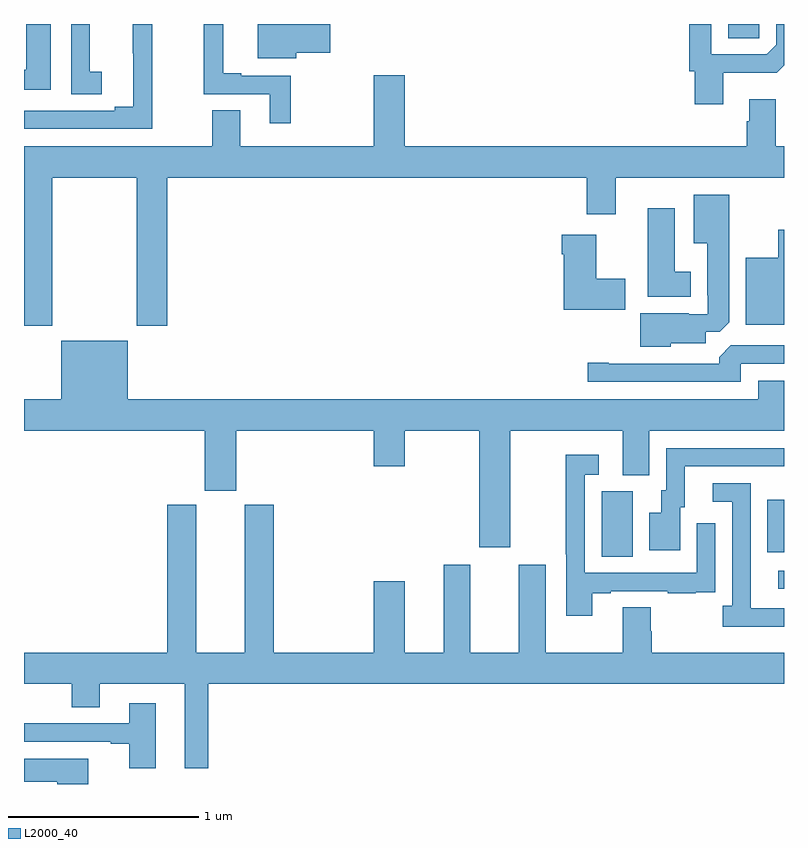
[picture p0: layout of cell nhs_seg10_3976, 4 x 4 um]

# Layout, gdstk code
import gdstk
lib = gdstk.Library(unit=1e-6, precision=1e-09)
def R(c, l, rs):  # rectangles x0, y0, x1, y1
    for r in rs: c.add(gdstk.rectangle(r[:2], r[2:], *l))
def P(c, l, *ps):  # polygons
    for p in ps: c.add(gdstk.Polygon(p, *l))
L2000_40 = (2000, 40)

nhs_seg10_3976 = lib.new_cell('nhs_seg10_3976')
R(nhs_seg10_3976, L2000_40, [(334.971,1255.527,335,1255.623), (334.04,1255.696,334.204,1256.04), (334.913,1255.721,335,1255.996), (334.707,1258.426,334.869,1258.5)])
P(nhs_seg10_3976, L2000_40, [(332.404,1258.227),(332.143,1258.227),(332.143,1258.24),(332.048,1258.24),(332.048,1258.5),(331.945,1258.5),(331.945,1258.131),(332.294,1258.131),(332.294,1257.978),(332.404,1257.978)],
  [(334.681,1258.244),(334.961,1258.244),(335,1258.283),(335,1258.5),(334.959,1258.5),(334.959,1258.392),(334.908,1258.341),(334.617,1258.341),(334.617,1258.5),(334.501,1258.5),(334.501,1258.251),(334.529,1258.251),(334.529,1258.077),(334.681,1258.077)],
  [(331.141,1258.5),(331.013,1258.5),(331.013,1258.26),(331,1258.26),(331,1258.155),(331.141,1258.155)],
  [(331.676,1258.5),(331.573,1258.5),(331.573,1258.347),(331.574,1258.347),(331.574,1258.064),(331.478,1258.064),(331.478,1258.044),(331,1258.044),(331,1257.948),(331.676,1257.948)],
  [(332.434,1258.349),(332.611,1258.349),(332.611,1258.5),(332.231,1258.5),(332.231,1258.319),(332.434,1258.319)],
  [(331.408,1258.249),(331.347,1258.249),(331.347,1258.5),(331.248,1258.5),(331.248,1258.129),(331.408,1258.129)],
  [(331.149,1257.692),(331.594,1257.692),(331.594,1256.913),(331.754,1256.913),(331.754,1257.692),(333.962,1257.692),(333.962,1257.498),(334.114,1257.498),(334.114,1257.692),(335,1257.692),(335,1257.856),(334.957,1257.856),(334.957,1258.105),(334.817,1258.105),(334.817,1257.989),(334.805,1257.989),(334.805,1257.856),(333.004,1257.856),(333.004,1258.231),(332.84,1258.231),(332.84,1257.856),(332.137,1257.856),(332.137,1258.046),(331.99,1258.046),(331.99,1257.856),(331,1257.856),(331,1256.913),(331.149,1256.913)],
  [(334.404,1256.819),(334.588,1256.819),(334.588,1256.88),(334.662,1256.88),(334.711,1256.929),(334.711,1257.601),(334.526,1257.601),(334.526,1257.347),(334.595,1257.347),(334.595,1257.073),(334.599,1257.073),(334.599,1256.973),(334.499,1256.973),(334.499,1256.977),(334.244,1256.977),(334.244,1256.801),(334.404,1256.801)],
  [(334.51,1257.196),(334.426,1257.196),(334.426,1257.529),(334.283,1257.529),(334.283,1257.065),(334.51,1257.065)],
  [(335,1257.418),(334.97,1257.418),(334.97,1257.271),(334.799,1257.271),(334.799,1256.918),(335,1256.918)],
  [(334.165,1257.159),(334.012,1257.159),(334.012,1257.391),(333.83,1257.391),(333.83,1257.287),(333.842,1257.287),(333.842,1256.996),(334.165,1256.996)],
  [(333.559,1256.36),(334.151,1256.36),(334.151,1256.125),(334.291,1256.125),(334.291,1256.36),(335,1256.36),(335,1256.623),(334.865,1256.623),(334.865,1256.524),(331.546,1256.524),(331.546,1256.833),(331.196,1256.833),(331.196,1256.524),(331,1256.524),(331,1256.36),(331.952,1256.36),(331.952,1256.043),(332.116,1256.043),(332.116,1256.36),(332.84,1256.36),(332.84,1256.172),(333.004,1256.172),(333.004,1256.36),(333.395,1256.36),(333.395,1255.746),(333.559,1255.746)],
  [(334.773,1256.712),(335,1256.712),(335,1256.808),(334.719,1256.808),(334.658,1256.746),(334.658,1256.712),(334.078,1256.712),(334.078,1256.717),(333.966,1256.717),(333.966,1256.616),(334.773,1256.616)],
  [(334.453,1255.956),(334.477,1255.956),(334.477,1256.172),(335,1256.172),(335,1256.268),(334.38,1256.268),(334.38,1256.046),(334.355,1256.046),(334.355,1255.927),(334.292,1255.927),(334.292,1255.731),(334.453,1255.731)],
  [(333.991,1255.503),(334.087,1255.503),(334.087,1255.515),(334.387,1255.515),(334.387,1255.503),(334.535,1255.503),(334.535,1255.509),(334.637,1255.509),(334.637,1255.618),(334.638,1255.618),(334.638,1255.873),(334.542,1255.873),(334.542,1255.611),(333.951,1255.611),(333.951,1256.127),(334.024,1256.127),(334.024,1256.233),(333.85,1256.233),(333.85,1255.708),(333.855,1255.708),(333.855,1255.386),(333.991,1255.386)],
  [(335,1255.425),(334.825,1255.425),(334.825,1255.625),(334.824,1255.625),(334.824,1256.082),(334.626,1256.082),(334.626,1255.986),(334.728,1255.986),(334.728,1255.438),(334.677,1255.438),(334.677,1255.328),(335,1255.328)],
  [(331.969,1255.028),(335,1255.028),(335,1255.192),(334.304,1255.192),(334.304,1255.305),(334.299,1255.305),(334.299,1255.43),(334.151,1255.43),(334.151,1255.192),(333.745,1255.192),(333.745,1255.654),(333.605,1255.654),(333.605,1255.192),(333.349,1255.192),(333.349,1255.654),(333.209,1255.654),(333.209,1255.192),(333.004,1255.192),(333.004,1255.567),(332.84,1255.567),(332.84,1255.192),(332.315,1255.192),(332.315,1255.971),(332.162,1255.971),(332.162,1255.192),(331.906,1255.192),(331.906,1255.971),(331.754,1255.971),(331.754,1255.192),(331,1255.192),(331,1255.028),(331.252,1255.028),(331.252,1254.904),(331.399,1254.904),(331.399,1255.028),(331.847,1255.028),(331.847,1254.582),(331.969,1254.582)],
  [(331.693,1254.925),(331.553,1254.925),(331.553,1254.819),(331.163,1254.819),(331.163,1254.821),(331,1254.821),(331,1254.723),(331.457,1254.723),(331.457,1254.711),(331.553,1254.711),(331.553,1254.582),(331.693,1254.582)],
  [(331.339,1254.634),(331.063,1254.634),(331.063,1254.633),(331,1254.633),(331,1254.512),(331.175,1254.512),(331.175,1254.5),(331.339,1254.5)])

lib.write_gds('nhs_seg10_3976.gds')
